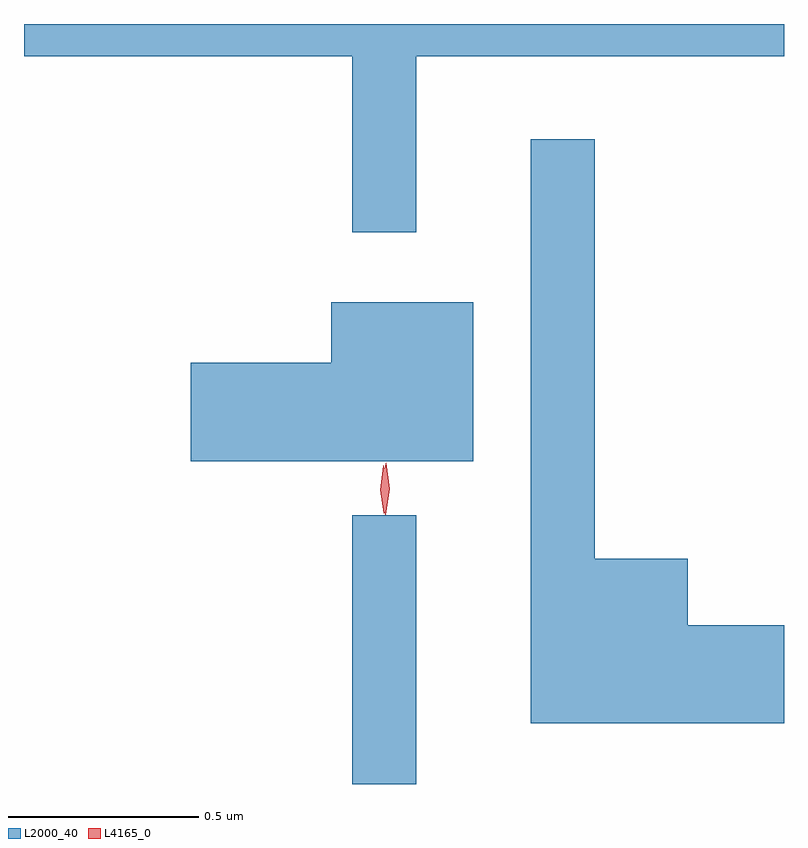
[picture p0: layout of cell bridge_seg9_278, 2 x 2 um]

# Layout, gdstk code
import gdstk
lib = gdstk.Library(unit=1e-6, precision=1e-09)
def R(c, l, rs):  # rectangles x0, y0, x1, y1
    for r in rs: c.add(gdstk.rectangle(r[:2], r[2:], *l))
def P(c, l, *ps):  # polygons
    for p in ps: c.add(gdstk.Polygon(p, *l))
L2000_40 = (2000, 40)
L4165_0 = (4165, 0)

bridge_seg9_278 = lib.new_cell('bridge_seg9_278')
R(bridge_seg9_278, L2000_40, [(885.791,2034.301,885.959,2035.008)])
P(bridge_seg9_278, L2000_40, [(885.959,2036.216),(886.927,2036.216),(886.927,2036.301),(884.927,2036.301),(884.927,2036.216),(885.791,2036.216),(885.791,2035.753),(885.959,2035.753)],
  [(886.927,2034.719),(886.674,2034.719),(886.674,2034.894),(886.429,2034.894),(886.429,2035.998),(886.261,2035.998),(886.261,2034.461),(886.927,2034.461)],
  [(886.109,2035.569),(885.736,2035.569),(885.736,2035.409),(885.366,2035.409),(885.366,2035.151),(886.109,2035.151)])
P(bridge_seg9_278, L4165_0, [(885.878,2035.01),(885.878,2035.01),(885.869,2035.078),(885.879,2035.145),(885.88,2035.146),(885.88,2035.145),(885.889,2035.078),(885.879,2035.01)],
  [(885.874,2035.013),(885.864,2035.076),(885.873,2035.139),(885.873,2035.14),(885.874,2035.139),(885.884,2035.076),(885.875,2035.013),(885.875,2035.013)])

lib.write_gds('bridge_seg9_278.gds')
